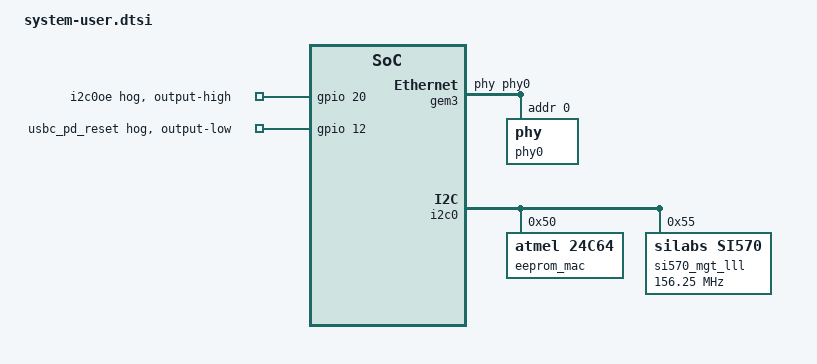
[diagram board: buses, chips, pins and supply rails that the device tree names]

#include "dt-bindings/gpio/gpio.h"

&gem3 {
    phy-handle = <&phy0>;

    phy0: phy@0 {
        // Marvel 88E1512
        //   compatible string is not needed
        reg = <0>;
        device_type = "ethernet-phy";
        marvell,reg-init =
            <254 15 0x3fff 0>;
    };
};

&axi_gpio_1 {
    // no clock at the start-up
    status = "disabled";
};

&axi_traffic_gen_0 {
    // no clock at the start-up
    status = "disabled";
};

&sdhci0 {
    // WP pin is not available on microSD, not connected on the board
    disable-wp;
};

&gpio {
    i2c0oe {
        gpio-hog;
        output-high;
        gpios = <20 GPIO_ACTIVE_HIGH>;
    };

    usbc_pd_reset {
        gpio-hog;
        output-low;
        gpios = <12 GPIO_ACTIVE_HIGH>;
    };
};

&i2c0 {
    eeprom_mac: eeprom@50 {
        compatible = "atmel,24c64";
        reg = <0x50>;
        pagesize = <16>;
    };

    si570_mgt_lll: clock-generator@5d {
        #clock-cells = <0>;
        compatible = "silabs,si570";
        temperature-stability = <50>;
        reg = <0x55>;
        factory-fout = <125000000>;
        clock-frequency = <156250000>;
        clock-output-names = "si570_mgt_lll";
    };

    /* Si Labs at 0x76, 0x77 are handled by a separate script */
};
